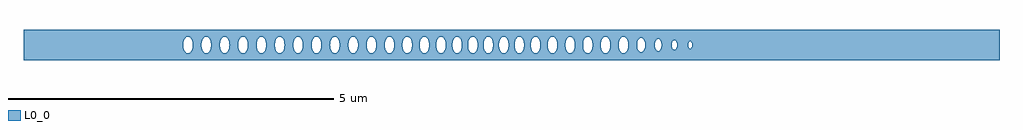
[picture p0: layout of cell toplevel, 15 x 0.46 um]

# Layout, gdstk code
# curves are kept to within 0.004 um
import gdstk
lib = gdstk.Library(unit=1e-6, precision=1e-09)
def P(c, l, *ps):  # polygons
    for p in ps: c.add(gdstk.Polygon(p, *l))
L0_0 = (0, 0)

toplevel = lib.new_cell('toplevel')
P(toplevel, L0_0, [(-4.482,0.016),(-4.476,0.056),(-4.452,0.106),(-4.418,0.129),(-4.399,0.129),(-4.381,0.121),(-4.381,0.231),(-7.5,0.231),(-7.5,-0.008),(-5.047,-0.008),(-5.045,0.032),(-5.033,0.077),(-5.009,0.114),(-4.978,0.13),(-4.95,0.124),(-4.922,0.095),(-4.902,0.04),(-4.899,-0.008),(-4.765,-0.008),(-4.76,0.048),(-4.745,0.089),(-4.722,0.118),(-4.695,0.13),(-4.668,0.124),(-4.643,0.101),(-4.628,0.07),(-4.617,0.016),(-4.62,-0.04),(-4.631,-0.077),(-4.659,-0.118),(-4.686,-0.13),(-4.714,-0.124),(-4.738,-0.101),(-4.756,-0.063),(-4.765,-0.008),(-4.899,-0.008),(-4.906,-0.056),(-4.922,-0.095),(-4.941,-0.118),(-4.968,-0.13),(-4.996,-0.124),(-5.024,-0.095),(-5.04,-0.056),(-5.047,-0.008),(-7.5,-0.008),(-7.5,-0.231),(-4.381,-0.231),(-4.381,-0.121),(-4.404,-0.13),(-4.422,-0.128),(-4.456,-0.101),(-4.476,-0.056)],
  [(-3.633,0.04),(-3.606,0.106),(-3.576,0.128),(-3.553,0.129),(-3.553,0.231),(-4.381,0.231),(-4.381,0.121),(-4.361,0.101),(-4.341,0.056),(-4.335,-0.016),(-4.2,-0.016),(-4.197,0.04),(-4.186,0.077),(-4.158,0.118),(-4.131,0.13),(-4.103,0.124),(-4.072,0.089),(-4.057,0.048),(-4.053,-0.016),(-3.918,-0.016),(-3.915,0.04),(-3.904,0.077),(-3.876,0.118),(-3.849,0.13),(-3.821,0.124),(-3.793,0.095),(-3.777,0.056),(-3.77,0.008),(-3.775,-0.048),(-3.793,-0.095),(-3.821,-0.124),(-3.84,-0.13),(-3.863,-0.126),(-3.888,-0.106),(-3.907,-0.07),(-3.918,-0.016),(-4.053,-0.016),(-4.061,-0.063),(-4.079,-0.101),(-4.103,-0.124),(-4.122,-0.13),(-4.149,-0.124),(-4.174,-0.101),(-4.189,-0.07),(-4.2,-0.016),(-4.335,-0.016),(-4.351,-0.083),(-4.381,-0.121),(-4.381,-0.231),(-3.553,-0.231),(-3.553,-0.129),(-3.576,-0.128),(-3.594,-0.118),(-3.622,-0.077),(-3.636,-0.016)],
  [(-2.789,0.016),(-2.773,0.082),(-2.773,0.231),(-3.553,0.231),(-3.553,0.129),(-3.518,0.106),(-3.502,0.077),(-3.49,0.032),(-3.488,-0.008),(-3.354,-0.008),(-3.352,0.032),(-3.34,0.077),(-3.316,0.114),(-3.285,0.13),(-3.257,0.124),(-3.229,0.095),(-3.209,0.04),(-3.206,-0.008),(-3.072,-0.008),(-3.067,0.048),(-3.052,0.089),(-3.029,0.118),(-3.002,0.13),(-2.975,0.124),(-2.95,0.101),(-2.935,0.07),(-2.924,0.016),(-2.927,-0.04),(-2.938,-0.077),(-2.966,-0.118),(-2.993,-0.13),(-3.021,-0.124),(-3.045,-0.101),(-3.063,-0.063),(-3.072,-0.008),(-3.206,-0.008),(-3.213,-0.056),(-3.229,-0.095),(-3.248,-0.118),(-3.275,-0.13),(-3.303,-0.124),(-3.331,-0.095),(-3.347,-0.056),(-3.354,-0.008),(-3.488,-0.008),(-3.495,-0.056),(-3.511,-0.095),(-3.53,-0.118),(-3.553,-0.129),(-3.553,-0.231),(-2.773,-0.231),(-2.773,-0.083),(-2.786,-0.04)],
  [(-2.773,0.231),(-2.773,0.083),(-2.759,0.106),(-2.729,0.128),(-2.706,0.129),(-2.684,0.118),(-2.668,0.101),(-2.648,0.056),(-2.642,-0.016),(-2.507,-0.016),(-2.504,0.04),(-2.493,0.077),(-2.465,0.118),(-2.438,0.13),(-2.41,0.124),(-2.386,0.101),(-2.368,0.063),(-2.359,0.008),(-2.364,-0.048),(-2.373,-0.077),(-2.39,-0.106),(-2.419,-0.128),(-2.452,-0.126),(-2.481,-0.101),(-2.496,-0.07),(-2.507,-0.016),(-2.642,-0.016),(-2.658,-0.083),(-2.672,-0.106),(-2.702,-0.128),(-2.72,-0.13),(-2.743,-0.121),(-2.773,-0.083),(-2.773,-0.231),(-2.079,-0.231),(-2.079,-0.027),(-2.087,-0.063),(-2.105,-0.101),(-2.129,-0.124),(-2.157,-0.13),(-2.184,-0.118),(-2.203,-0.095),(-2.215,-0.07),(-2.226,-0.016),(-2.223,0.04),(-2.215,0.07),(-2.196,0.106),(-2.166,0.128),(-2.138,0.128),(-2.112,0.11),(-2.092,0.077),(-2.079,0.024),(-2.079,0.231)],
  [(-2.079,-0.016),(-2.079,-0.231),(-1.334,-0.231),(-1.334,-0.13),(-1.358,-0.126),(-1.383,-0.106),(-1.402,-0.07),(-1.413,-0.016),(-1.41,0.04),(-1.39,0.095),(-1.362,0.124),(-1.334,0.13),(-1.334,0.231),(-2.079,0.231),(-2.078,0),(-1.949,0),(-1.942,0.056),(-1.922,0.101),(-1.897,0.124),(-1.87,0.13),(-1.843,0.118),(-1.82,0.089),(-1.807,0.056),(-1.801,-0.008),(-1.677,-0.008),(-1.666,0.07),(-1.643,0.11),(-1.608,0.13),(-1.571,0.118),(-1.54,0.07),(-1.532,0.04),(-1.529,-0.016),(-1.54,-0.07),(-1.552,-0.095),(-1.571,-0.118),(-1.589,-0.128),(-1.617,-0.128),(-1.65,-0.101),(-1.666,-0.07),(-1.677,-0.008),(-1.801,-0.008),(-1.807,-0.056),(-1.82,-0.089),(-1.843,-0.118),(-1.87,-0.13),(-1.897,-0.124),(-1.922,-0.101),(-1.942,-0.056),(-1.949,0),(-2.078,0)],
  [(-1.266,-0.024),(-1.288,-0.095),(-1.308,-0.118),(-1.334,-0.13),(-1.334,-0.231),(-0.645,-0.231),(-0.645,-0.095),(-0.657,-0.07),(-0.668,-0.016),(-0.663,0.048),(-0.645,0.095),(-0.645,0.231),(-1.334,0.231),(-1.334,0.13),(-1.308,0.118),(-1.288,0.095),(-1.27,0.048),(-1.265,-0.008),(-1.158,-0.008),(-1.151,0.056),(-1.138,0.089),(-1.115,0.118),(-1.088,0.13),(-1.061,0.124),(-1.036,0.101),(-1.013,0.04),(-1.01,-0.008),(-0.91,-0.008),(-0.905,0.048),(-0.883,0.101),(-0.85,0.128),(-0.831,0.13),(-0.808,0.121),(-0.788,0.101),(-0.773,0.07),(-0.765,0.04),(-0.762,-0.016),(-0.776,-0.077),(-0.792,-0.106),(-0.817,-0.126),(-0.85,-0.128),(-0.883,-0.101),(-0.901,-0.063),(-0.91,-0.008),(-1.01,-0.008),(-1.017,-0.056),(-1.036,-0.101),(-1.056,-0.121),(-1.079,-0.13),(-1.106,-0.124),(-1.131,-0.101),(-1.151,-0.056),(-1.158,-0.008),(-1.265,-0.008)],
  [(-0.188,0.048),(-0.162,0.106),(-0.142,0.124),(-0.109,0.129),(-0.091,0.121),(-0.071,0.101),(-0.056,0.07),(-0.045,0.016),(-0.045,0.231),(-0.645,0.231),(-0.645,0.095),(-0.626,0.118),(-0.608,0.128),(-0.589,0.13),(-0.562,0.118),(-0.531,0.07),(-0.52,-0.008),(-0.43,-0.008),(-0.425,0.048),(-0.407,0.095),(-0.379,0.124),(-0.36,0.13),(-0.337,0.126),(-0.312,0.106),(-0.293,0.07),(-0.282,0.016),(-0.285,-0.04),(-0.296,-0.077),(-0.324,-0.118),(-0.351,-0.13),(-0.379,-0.124),(-0.407,-0.095),(-0.423,-0.056),(-0.43,-0.008),(-0.52,-0.008),(-0.531,-0.07),(-0.562,-0.118),(-0.589,-0.13),(-0.608,-0.128),(-0.626,-0.118),(-0.645,-0.095),(-0.645,-0.231),(-0.045,-0.231),(-0.045,-0.019),(-0.056,-0.07),(-0.075,-0.106),(-0.105,-0.128),(-0.142,-0.124),(-0.166,-0.101),(-0.186,-0.056),(-0.193,-0.008)],
  [(0.693,-0.231),(0.693,-0.071),(0.678,-0.101),(0.654,-0.124),(0.636,-0.13),(0.612,-0.126),(0.58,-0.095),(0.568,-0.071),(0.557,-0.016),(0.56,0.04),(0.568,0.07),(0.587,0.106),(0.608,0.124),(0.626,0.13),(0.654,0.124),(0.678,0.101),(0.693,0.07),(0.693,0.231),(-0.045,0.231),(-0.045,-0.008),(0.047,-0.008),(0.052,0.048),(0.067,0.089),(0.09,0.118),(0.117,0.13),(0.144,0.124),(0.169,0.101),(0.192,0.04),(0.195,-0.008),(0.296,-0.008),(0.298,0.032),(0.31,0.077),(0.334,0.114),(0.365,0.13),(0.389,0.126),(0.414,0.106),(0.433,0.07),(0.444,0.016),(0.441,-0.04),(0.43,-0.077),(0.402,-0.118),(0.375,-0.13),(0.347,-0.124),(0.319,-0.095),(0.303,-0.056),(0.296,-0.008),(0.195,-0.008),(0.188,-0.056),(0.169,-0.101),(0.149,-0.121),(0.126,-0.13),(0.098,-0.124),(0.074,-0.101),(0.056,-0.063),(0.047,-0.008),(-0.045,-0.008),(-0.045,-0.231)],
  [(0.704,-0.024),(0.693,-0.07),(0.693,-0.231),(1.459,-0.231),(1.459,-0.128),(1.431,-0.128),(1.401,-0.106),(1.382,-0.07),(1.371,-0.016),(1.376,0.048),(1.394,0.095),(1.422,0.124),(1.44,0.13),(1.459,0.128),(1.459,0.231),(0.693,0.231),(0.693,0.07),(0.703,0.032),(0.705,-0.008),(0.826,-0.008),(0.833,0.056),(0.846,0.089),(0.873,0.121),(0.905,0.13),(0.932,0.118),(0.958,0.083),(0.971,0.04),(0.974,-0.016),(1.099,-0.016),(1.102,0.04),(1.125,0.101),(1.159,0.128),(1.196,0.124),(1.22,0.101),(1.233,0.077),(1.242,0.048),(1.247,-0.008),(1.233,-0.077),(1.216,-0.106),(1.187,-0.128),(1.154,-0.126),(1.125,-0.101),(1.11,-0.07),(1.099,-0.016),(0.974,-0.016),(0.963,-0.07),(0.948,-0.101),(0.928,-0.121),(0.905,-0.13),(0.878,-0.124),(0.853,-0.101),(0.835,-0.063),(0.826,-0.008),(0.705,-0.008)],
  [(1.517,-0.032),(1.496,-0.095),(1.477,-0.118),(1.459,-0.128),(1.459,-0.231),(2.22,-0.231),(2.22,-0.072),(2.207,-0.045),(2.201,-0.012),(2.204,0.035),(2.22,0.072),(2.22,0.231),(1.459,0.231),(1.459,0.128),(1.489,0.106),(1.505,0.077),(1.517,0.032),(1.519,-0.008),(1.646,-0.008),(1.648,0.032),(1.66,0.077),(1.684,0.114),(1.715,0.13),(1.743,0.124),(1.771,0.095),(1.791,0.04),(1.794,-0.007),(1.929,-0.007),(1.933,0.041),(1.946,0.077),(1.969,0.104),(1.989,0.112),(2.009,0.109),(2.027,0.095),(2.052,0.041),(2.056,-0.014),(2.044,-0.066),(2.027,-0.095),(1.997,-0.112),(1.973,-0.107),(1.949,-0.082),(1.933,-0.041),(1.929,-0.007),(1.794,-0.007),(1.787,-0.056),(1.771,-0.095),(1.752,-0.118),(1.725,-0.13),(1.697,-0.124),(1.676,-0.106),(1.657,-0.07),(1.646,-0.008),(1.519,-0.008)],
  [(2.225,0.079),(2.251,0.094),(2.267,0.091),(2.283,0.079),(2.301,0.045),(2.307,-0.009),(2.461,-0.009),(2.469,0.044),(2.481,0.064),(2.499,0.075),(2.517,0.072),(2.535,0.052),(2.545,0.023),(2.546,-0.007),(2.714,-0.007),(2.72,0.034),(2.742,0.057),(2.755,0.055),(2.769,0.042),(2.779,-0.007),(2.769,-0.042),(2.751,-0.057),(2.736,-0.054),(2.724,-0.042),(2.714,-0.007),(2.546,-0.007),(2.535,-0.052),(2.509,-0.075),(2.481,-0.064),(2.466,-0.036),(2.461,-0.009),(2.307,-0.009),(2.301,-0.045),(2.277,-0.085),(2.251,-0.094),(2.231,-0.085),(2.22,-0.072),(2.22,-0.231),(7.5,-0.231),(7.5,0.231),(2.22,0.231),(2.22,0.072)])

lib.write_gds('toplevel.gds')
